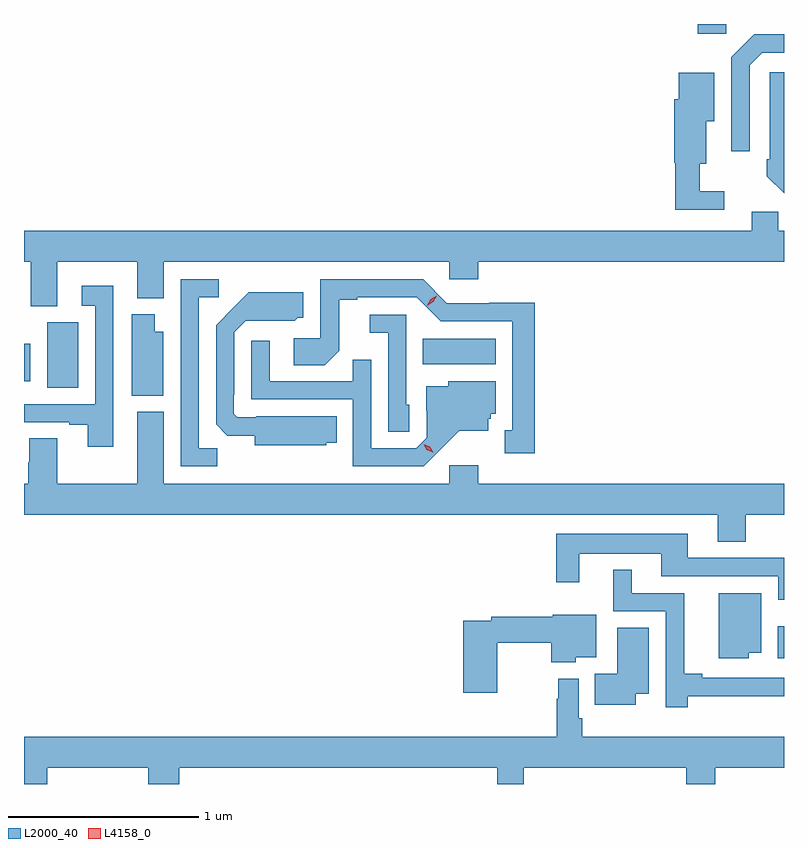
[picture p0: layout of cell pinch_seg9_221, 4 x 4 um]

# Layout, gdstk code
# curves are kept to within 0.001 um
import gdstk
lib = gdstk.Library(unit=1e-6, precision=1e-09)
def R(c, l, rs):  # rectangles x0, y0, x1, y1
    for r in rs: c.add(gdstk.rectangle(r[:2], r[2:], *l))
def P(c, l, *ps):  # polygons
    for p in ps: c.add(gdstk.Polygon(p, *l))
L2000_40 = (2000, 40)
L4158_0 = (4158, 0)

pinch_seg9_221 = lib.new_cell('pinch_seg9_221')
R(pinch_seg9_221, L2000_40, [(602.774,1206.32,602.806,1206.49), (598.928,1207.744,599.092,1208.088), (598.806,1207.779,598.84,1207.975), (600.904,1207.868,601.288,1208.002), (602.351,1209.609,602.502,1209.659)])
P(pinch_seg9_221, L2000_40, [(602.625,1209.441),(602.691,1209.507),(602.806,1209.507),(602.806,1209.604),(602.65,1209.604),(602.529,1209.483),(602.529,1208.988),(602.625,1208.988)],
  [(602.806,1209.405),(602.73,1209.405),(602.73,1208.947),(602.715,1208.947),(602.715,1208.859),(602.806,1208.768)],
  [(602.491,1208.779),(602.362,1208.779),(602.362,1208.924),(602.398,1208.924),(602.398,1209.146),(602.44,1209.146),(602.44,1209.403),(602.252,1209.403),(602.252,1209.264),(602.228,1209.264),(602.228,1208.928),(602.233,1208.928),(602.233,1208.682),(602.491,1208.682)],
  [(598.981,1208.408),(599.402,1208.408),(599.402,1208.216),(599.542,1208.216),(599.542,1208.408),(601.044,1208.408),(601.044,1208.315),(601.196,1208.315),(601.196,1208.408),(602.806,1208.408),(602.806,1208.572),(602.775,1208.572),(602.775,1208.67),(602.636,1208.67),(602.636,1208.572),(598.806,1208.572),(598.806,1208.408),(598.841,1208.408),(598.841,1208.173),(598.981,1208.173)],
  [(601.495,1208.192),(601.254,1208.192),(601.254,1208.19),(601.032,1208.19),(600.906,1208.316),(600.366,1208.316),(600.366,1208.004),(600.225,1208.004),(600.225,1207.864),(600.389,1207.864),(600.465,1207.94),(600.465,1208.208),(600.559,1208.208),(600.559,1208.22),(600.873,1208.22),(600.999,1208.094),(601.376,1208.094),(601.376,1207.521),(601.337,1207.521),(601.337,1207.401),(601.495,1207.401)],
  [(599.823,1207.427),(599.727,1207.427),(599.727,1208.22),(599.83,1208.22),(599.83,1208.316),(599.631,1208.316),(599.631,1207.332),(599.823,1207.332)],
  [(599.277,1208.281),(599.109,1208.281),(599.109,1208.175),(599.181,1208.175),(599.181,1207.659),(598.806,1207.659),(598.806,1207.563),(599.045,1207.563),(599.045,1207.551),(599.141,1207.551),(599.141,1207.434),(599.277,1207.434)],
  [(600.396,1207.454),(600.452,1207.454),(600.452,1207.594),(600.028,1207.594),(600.028,1207.59),(599.928,1207.59),(599.91,1207.608),(599.91,1207.708),(599.913,1207.708),(599.913,1208.037),(599.973,1208.097),(600.23,1208.096),(600.246,1208.112),(600.277,1208.112),(600.277,1208.248),(599.989,1208.248),(599.817,1208.074),(599.817,1207.552),(599.876,1207.493),(600.02,1207.493),(600.02,1207.442),(600.396,1207.442)],
  [(599.539,1208.038),(599.494,1208.038),(599.494,1208.131),(599.372,1208.131),(599.372,1207.703),(599.539,1207.703)],
  [(600.834,1207.656),(600.819,1207.656),(600.819,1208.13),(600.627,1208.13),(600.627,1208.033),(600.723,1208.033),(600.723,1207.513),(600.834,1207.513)],
  [(600.994,1207.415),(601.097,1207.517),(601.249,1207.517),(601.249,1207.581),(601.263,1207.581),(601.263,1207.608),(601.288,1207.608),(601.288,1207.78),(601.038,1207.78),(601.038,1207.753),(600.923,1207.753),(600.923,1207.624),(600.927,1207.624),(600.927,1207.482),(600.87,1207.425),(600.633,1207.425),(600.633,1207.892),(600.535,1207.892),(600.535,1207.779),(600.099,1207.779),(600.099,1207.993),(600.003,1207.993),(600.003,1207.683),(600.537,1207.683),(600.537,1207.332),(600.91,1207.332)],
  [(602.604,1207.076),(602.806,1207.076),(602.806,1207.24),(601.196,1207.24),(601.196,1207.336),(601.044,1207.336),(601.044,1207.24),(599.542,1207.24),(599.542,1207.618),(599.402,1207.618),(599.402,1207.24),(598.981,1207.24),(598.981,1207.478),(598.834,1207.478),(598.834,1207.353),(598.829,1207.353),(598.829,1207.24),(598.806,1207.24),(598.806,1207.076),(602.456,1207.076),(602.456,1206.934),(602.604,1206.934)],
  [(602.806,1206.849),(602.299,1206.849),(602.299,1206.976),(601.608,1206.976),(601.608,1206.72),(601.729,1206.72),(601.729,1206.872),(602.159,1206.872),(602.159,1206.753),(602.775,1206.753),(602.775,1206.63),(602.806,1206.63)],
  [(602.3,1206.122),(602.806,1206.122),(602.806,1206.219),(602.377,1206.219),(602.377,1206.239),(602.282,1206.239),(602.282,1206.663),(602.005,1206.663),(602.005,1206.787),(601.907,1206.787),(601.907,1206.567),(602.184,1206.567),(602.184,1206.063),(602.3,1206.063)],
  [(602.62,1206.35),(602.686,1206.35),(602.686,1206.664),(602.462,1206.664),(602.462,1206.32),(602.62,1206.32)],
  [(601.296,1206.403),(601.582,1206.403),(601.582,1206.299),(601.71,1206.299),(601.71,1206.326),(601.819,1206.326),(601.819,1206.55),(601.589,1206.55),(601.589,1206.539),(601.264,1206.539),(601.264,1206.519),(601.118,1206.519),(601.118,1206.138),(601.296,1206.138)],
  [(602.026,1206.134),(602.095,1206.134),(602.095,1206.482),(601.928,1206.482),(601.928,1206.238),(601.81,1206.238),(601.81,1206.077),(602.026,1206.077)],
  [(598.928,1205.744),(599.459,1205.744),(599.459,1205.659),(599.624,1205.659),(599.624,1205.744),(601.296,1205.744),(601.296,1205.659),(601.435,1205.659),(601.435,1205.744),(602.291,1205.744),(602.291,1205.659),(602.444,1205.659),(602.444,1205.744),(602.806,1205.744),(602.806,1205.908),(601.745,1205.908),(601.745,1206.004),(601.725,1206.004),(601.725,1206.214),(601.617,1206.214),(601.617,1206.107),(601.609,1206.107),(601.609,1205.908),(598.806,1205.908),(598.806,1205.659),(598.928,1205.659)])
P(pinch_seg9_221, L4158_0, [(600.929,1208.177),(600.929,1208.178),(600.946,1208.21),(600.978,1208.229),(600.978,1208.229),(600.978,1208.229),(600.961,1208.196),(600.929,1208.177)],
  [(600.958,1207.404),(600.927,1207.419),(600.91,1207.448),(600.91,1207.448),(600.91,1207.448),(600.941,1207.434),(600.959,1207.404),(600.959,1207.404)])

lib.write_gds('pinch_seg9_221.gds')
